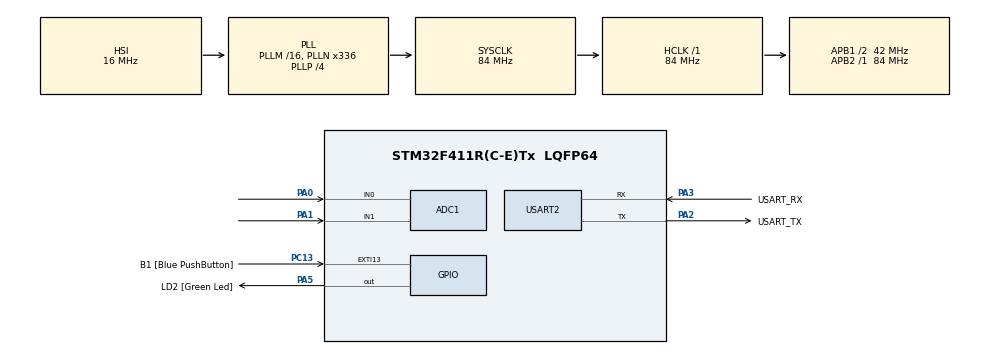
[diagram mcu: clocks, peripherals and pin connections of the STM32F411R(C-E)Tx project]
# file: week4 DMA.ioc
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ADC1.Channel-0\#ChannelRegularConversion=ADC_CHANNEL_0
ADC1.Channel-1\#ChannelRegularConversion=ADC_CHANNEL_1
ADC1.Channel-2\#ChannelRegularConversion=ADC_CHANNEL_TEMPSENSOR
ADC1.Channel-3\#ChannelRegularConversion=ADC_CHANNEL_VREFINT
ADC1.ContinuousConvMode=ENABLE
ADC1.DMAContinuousRequests=ENABLE
ADC1.NbrOfConversion=4
ADC1.NbrOfConversionFlag=1
ADC1.Rank-0\#ChannelRegularConversion=1
ADC1.Rank-1\#ChannelRegularConversion=2
ADC1.Rank-2\#ChannelRegularConversion=3
ADC1.Rank-3\#ChannelRegularConversion=4
ADC1.SamplingTime-0\#ChannelRegularConversion=ADC_SAMPLETIME_480CYCLES
ADC1.SamplingTime-1\#ChannelRegularConversion=ADC_SAMPLETIME_480CYCLES
ADC1.SamplingTime-2\#ChannelRegularConversion=ADC_SAMPLETIME_480CYCLES
ADC1.SamplingTime-3\#ChannelRegularConversion=ADC_SAMPLETIME_480CYCLES
ADC1.ScanConvMode=ENABLE
ADC1.master=1
Dma.ADC1.0.Direction=DMA_PERIPH_TO_MEMORY
Dma.ADC1.0.FIFOMode=DMA_FIFOMODE_DISABLE
Dma.ADC1.0.Instance=DMA2_Stream0
Dma.ADC1.0.MemDataAlignment=DMA_MDATAALIGN_WORD
Dma.ADC1.0.MemInc=DMA_MINC_ENABLE
Dma.ADC1.0.Mode=DMA_CIRCULAR
Dma.ADC1.0.PeriphDataAlignment=DMA_PDATAALIGN_WORD
Dma.ADC1.0.PeriphInc=DMA_PINC_DISABLE
Dma.ADC1.0.Priority=DMA_PRIORITY_LOW
Dma.Request0=ADC1
Mcu.Family=STM32F4
Mcu.Name=STM32F411R(C-E)Tx
Mcu.Package=LQFP64
NVIC.DMA2_Stream0_IRQn=true\:0\:0\:false\:false\:true\:false\:true
NVIC.EXTI15_10_IRQn=true\:0\:0\:false\:false\:true\:true\:true
NVIC.PriorityGroup=NVIC_PRIORITYGROUP_0
PA0-WKUP.Signal=ADCx_IN0
PA1.Signal=ADCx_IN1
PA13.GPIO_Label=TMS
PA13.Mode=Serial_Wire
PA13.Signal=SYS_JTMS-SWDIO
PA14.GPIO_Label=TCK
PA14.Mode=Serial_Wire
PA14.Signal=SYS_JTCK-SWCLK
PA2.GPIO_Label=USART_TX
PA2.Mode=Asynchronous
PA2.Signal=USART2_TX
PA3.GPIO_Label=USART_RX
PA3.Mode=Asynchronous
PA3.Signal=USART2_RX
PA5.GPIO_Label=LD2 [Green Led]
PA5.Signal=GPIO_Output
PB3.GPIO_Label=SWO
PB3.Signal=SYS_JTDO-SWO
PC13-ANTI_TAMP.GPIO_Label=B1 [Blue PushButton]
PC13-ANTI_TAMP.GPIO_ModeDefaultEXTI=GPIO_MODE_IT_RISING_FALLING
PC13-ANTI_TAMP.GPIO_PuPd=GPIO_PULLUP
PC13-ANTI_TAMP.Signal=GPXTI13
PC14-OSC32_IN.Mode=LSE-External-Oscillator
PC14-OSC32_IN.Signal=RCC_OSC32_IN
PC15-OSC32_OUT.Mode=LSE-External-Oscillator
PC15-OSC32_OUT.Signal=RCC_OSC32_OUT
PH0\ -\ OSC_IN.Mode=HSE-External-Clock-Source
PH0\ -\ OSC_IN.Signal=RCC_OSC_IN
PH1\ -\ OSC_OUT.Mode=HSE-External-Clock-Source
PH1\ -\ OSC_OUT.Signal=RCC_OSC_OUT
ProjectManager.HeapSize=0x200
ProjectManager.StackSize=0x400
ProjectManager.TargetToolchain=STM32CubeIDE
RCC.48MHZClocksFreq_Value=84000000
RCC.AHBFreq_Value=84000000
RCC.APB1CLKDivider=RCC_HCLK_DIV2
RCC.APB1Freq_Value=42000000
RCC.APB1TimFreq_Value=84000000
RCC.APB2Freq_Value=84000000
RCC.APB2TimFreq_Value=84000000
RCC.CortexFreq_Value=84000000
RCC.FLatency-AdvancedSettings=FLASH_LATENCY_2
RCC.HCLKFreq_Value=84000000
RCC.HSE_VALUE=8000000
RCC.HSI_VALUE=16000000
RCC.PLLN=336
RCC.PLLP=RCC_PLLP_DIV4
RCC.SYSCLKFreq_VALUE=84000000
RCC.SYSCLKSource=RCC_SYSCLKSOURCE_PLLCLK
RCC.VCOOutputFreq_Value=336000000
SH.ADCx_IN0.0=ADC1_IN0,IN0
SH.ADCx_IN1.0=ADC1_IN1,IN1
USART2.VirtualMode=VM_ASYNC
VP_ADC1_TempSens_Input.Mode=IN-TempSens
VP_ADC1_Vref_Input.Mode=IN-Vrefint
board=NUCLEO-F411RE

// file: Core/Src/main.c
/* USER CODE BEGIN Header */
/**
  ******************************************************************************
  * @file           : main.c
  * @brief          : Main program body
  ******************************************************************************
  * @attention
  *
  * <h2><center>&copy; Copyright (c) 2021 STMicroelectronics.
  * All rights reserved.</center></h2>
  *
  * This software component is licensed by ST under BSD 3-Clause license,
  * the "License"; You may not use this file except in compliance with the
  * License. You may obtain a copy of the License at:
  *                        opensource.org/licenses/BSD-3-Clause
  *
  ******************************************************************************
  */
/* USER CODE END Header */
#include "main.h"

ADC_HandleTypeDef hadc1;
DMA_HandleTypeDef hdma_adc1;

UART_HandleTypeDef huart2;

/* USER CODE BEGIN PV */
uint32_t ADCData[4]={0};
uint32_t stopwatch =0;
uint32_t ButtonTimeStamp = 0;
uint32_t zero ;
uint32_t one ;
uint32_t randomtime;
int interruptmode =0;
GPIO_PinState SwitchState[2];
/* USER CODE END PV */

void SystemClock_Config(void);
static void MX_GPIO_Init(void);
static void MX_DMA_Init(void);
static void MX_USART2_UART_Init(void);
static void MX_ADC1_Init(void);

int main(void)
{

  /* MCU Configuration--------------------------------------------------------*/

  /* Reset of all peripherals, Initializes the Flash interface and the Systick. */
  HAL_Init();

  /* Configure the system clock */
  SystemClock_Config();

  /* Initialize all configured peripherals */
  MX_GPIO_Init();
  MX_DMA_Init();
  MX_USART2_UART_Init();
  MX_ADC1_Init();
  /* USER CODE BEGIN 2 */
  HAL_ADC_Start_DMA(&hadc1, ADCData, 4);
  //uint32_t ButtonTimeStamp = 0;
  /* USER CODE END 2 */

  /* Infinite loop */
  /* USER CODE BEGIN WHILE */
  while (1)
  {
	  SwitchState[0] = HAL_GPIO_ReadPin(GPIOC, GPIO_PIN_13);
	  if (interruptmode == 1)
	  {
		  if(HAL_GetTick() - ButtonTimeStamp >= randomtime)
		  {

			  //HAL_GPIO_TogglePin(LD2_GPIO_Port, LD2_Pin);
			  //HAL_GPIO_WritePin(GPIOA, GPIO_PIN_5, GPIO_PIN_SET);
			  HAL_GPIO_WritePin(LD2_GPIO_Port, LD2_Pin, GPIO_PIN_SET);

			  ButtonTimeStamp = HAL_GetTick();
			  interruptmode = 2;
		  }
	  }
//	  if (interruptmode == 2)
//	  {
//
//		  stopwatch = HAL_GetTick()- ButtonTimeStamp;
//		  interruptmode = 0;
//	  }

    /* USER CODE END WHILE */

  }
}

void SystemClock_Config(void)
{
  RCC_OscInitTypeDef RCC_OscInitStruct = {0};
  RCC_ClkInitTypeDef RCC_ClkInitStruct = {0};

  /** Configure the main internal regulator output voltage
  */
  __HAL_RCC_PWR_CLK_ENABLE();
  __HAL_PWR_VOLTAGESCALING_CONFIG(PWR_REGULATOR_VOLTAGE_SCALE1);
  /** Initializes the RCC Oscillators according to the specified parameters
  * in the RCC_OscInitTypeDef structure.
  */
  RCC_OscInitStruct.OscillatorType = RCC_OSCILLATORTYPE_HSI;
  RCC_OscInitStruct.HSIState = RCC_HSI_ON;
  RCC_OscInitStruct.HSICalibrationValue = RCC_HSICALIBRATION_DEFAULT;
  RCC_OscInitStruct.PLL.PLLState = RCC_PLL_ON;
  RCC_OscInitStruct.PLL.PLLSource = RCC_PLLSOURCE_HSI;
  RCC_OscInitStruct.PLL.PLLM = 16;
  RCC_OscInitStruct.PLL.PLLN = 336;
  RCC_OscInitStruct.PLL.PLLP = RCC_PLLP_DIV4;
  RCC_OscInitStruct.PLL.PLLQ = 4;
  if (HAL_RCC_OscConfig(&RCC_OscInitStruct) != HAL_OK)
  {
    Error_Handler();
  }
  /** Initializes the CPU, AHB and APB buses clocks
  */
  RCC_ClkInitStruct.ClockType = RCC_CLOCKTYPE_HCLK|RCC_CLOCKTYPE_SYSCLK
                              |RCC_CLOCKTYPE_PCLK1|RCC_CLOCKTYPE_PCLK2;
  RCC_ClkInitStruct.SYSCLKSource = RCC_SYSCLKSOURCE_PLLCLK;
  RCC_ClkInitStruct.AHBCLKDivider = RCC_SYSCLK_DIV1;
  RCC_ClkInitStruct.APB1CLKDivider = RCC_HCLK_DIV2;
  RCC_ClkInitStruct.APB2CLKDivider = RCC_HCLK_DIV1;

  if (HAL_RCC_ClockConfig(&RCC_ClkInitStruct, FLASH_LATENCY_2) != HAL_OK)
  {
    Error_Handler();
  }
}

static void MX_ADC1_Init(void)
{

  ADC_ChannelConfTypeDef sConfig = {0};

  /** Configure the global features of the ADC (Clock, Resolution, Data Alignment and number of conversion)
  */
  hadc1.Instance = ADC1;
  hadc1.Init.ClockPrescaler = ADC_CLOCK_SYNC_PCLK_DIV4;
  hadc1.Init.Resolution = ADC_RESOLUTION_12B;
  hadc1.Init.ScanConvMode = ENABLE;
  hadc1.Init.ContinuousConvMode = ENABLE;
  hadc1.Init.DiscontinuousConvMode = DISABLE;
  hadc1.Init.ExternalTrigConvEdge = ADC_EXTERNALTRIGCONVEDGE_NONE;
  hadc1.Init.ExternalTrigConv = ADC_SOFTWARE_START;
  hadc1.Init.DataAlign = ADC_DATAALIGN_RIGHT;
  hadc1.Init.NbrOfConversion = 4;
  hadc1.Init.DMAContinuousRequests = ENABLE;
  hadc1.Init.EOCSelection = ADC_EOC_SINGLE_CONV;
  if (HAL_ADC_Init(&hadc1) != HAL_OK)
  {
    Error_Handler();
  }
  /** Configure for the selected ADC regular channel its corresponding rank in the sequencer and its sample time.
  */
  sConfig.Channel = ADC_CHANNEL_0;
  sConfig.Rank = 1;
  sConfig.SamplingTime = ADC_SAMPLETIME_480CYCLES;
  if (HAL_ADC_ConfigChannel(&hadc1, &sConfig) != HAL_OK)
  {
    Error_Handler();
  }
  /** Configure for the selected ADC regular channel its corresponding rank in the sequencer and its sample time.
  */
  sConfig.Channel = ADC_CHANNEL_1;
  sConfig.Rank = 2;
  if (HAL_ADC_ConfigChannel(&hadc1, &sConfig) != HAL_OK)
  {
    Error_Handler();
  }
  /** Configure for the selected ADC regular channel its corresponding rank in the sequencer and its sample time.
  */
  sConfig.Channel = ADC_CHANNEL_TEMPSENSOR;
  sConfig.Rank = 3;
  if (HAL_ADC_ConfigChannel(&hadc1, &sConfig) != HAL_OK)
  {
    Error_Handler();
  }
  /** Configure for the selected ADC regular channel its corresponding rank in the sequencer and its sample time.
  */
  sConfig.Channel = ADC_CHANNEL_VREFINT;
  sConfig.Rank = 4;
  if (HAL_ADC_ConfigChannel(&hadc1, &sConfig) != HAL_OK)
  {
    Error_Handler();
  }

}

static void MX_USART2_UART_Init(void)
{

  huart2.Instance = USART2;
  huart2.Init.BaudRate = 115200;
  huart2.Init.WordLength = UART_WORDLENGTH_8B;
  huart2.Init.StopBits = UART_STOPBITS_1;
  huart2.Init.Parity = UART_PARITY_NONE;
  huart2.Init.Mode = UART_MODE_TX_RX;
  huart2.Init.HwFlowCtl = UART_HWCONTROL_NONE;
  huart2.Init.OverSampling = UART_OVERSAMPLING_16;
  if (HAL_UART_Init(&huart2) != HAL_OK)
  {
    Error_Handler();
  }

}

static void MX_DMA_Init(void)
{

  /* DMA controller clock enable */
  __HAL_RCC_DMA2_CLK_ENABLE();

  /* DMA interrupt init */
  /* DMA2_Stream0_IRQn interrupt configuration */
  HAL_NVIC_SetPriority(DMA2_Stream0_IRQn, 0, 0);
  HAL_NVIC_EnableIRQ(DMA2_Stream0_IRQn);

}

static void MX_GPIO_Init(void)
{
  GPIO_InitTypeDef GPIO_InitStruct = {0};

  /* GPIO Ports Clock Enable */
  __HAL_RCC_GPIOC_CLK_ENABLE();
  __HAL_RCC_GPIOH_CLK_ENABLE();
  __HAL_RCC_GPIOA_CLK_ENABLE();
  __HAL_RCC_GPIOB_CLK_ENABLE();

  /*Configure GPIO pin Output Level */
  HAL_GPIO_WritePin(LD2_GPIO_Port, LD2_Pin, GPIO_PIN_SET);

  /*Configure GPIO pin : B1_Pin */
  GPIO_InitStruct.Pin = B1_Pin;
  GPIO_InitStruct.Mode = GPIO_MODE_IT_RISING_FALLING;
  GPIO_InitStruct.Pull = GPIO_PULLUP;
  HAL_GPIO_Init(B1_GPIO_Port, &GPIO_InitStruct);

  /*Configure GPIO pin : LD2_Pin */
  GPIO_InitStruct.Pin = LD2_Pin;
  GPIO_InitStruct.Mode = GPIO_MODE_OUTPUT_PP;
  GPIO_InitStruct.Pull = GPIO_NOPULL;
  GPIO_InitStruct.Speed = GPIO_SPEED_FREQ_LOW;
  HAL_GPIO_Init(LD2_GPIO_Port, &GPIO_InitStruct);

  /* EXTI interrupt init*/
  HAL_NVIC_SetPriority(EXTI15_10_IRQn, 0, 0);
  HAL_NVIC_EnableIRQ(EXTI15_10_IRQn);

}

/* USER CODE BEGIN 4 */
void HAL_GPIO_EXTI_Callback(uint16_t GPIO_Pin)
{
//	  SwitchState[0] = HAL_GPIO_ReadPin(GPIOC, GPIO_PIN_13);
	if(GPIO_Pin == GPIO_PIN_13)
	{
		zero =ADCData[0];
		one =ADCData[1];
		randomtime = (1000+((22695477*zero)+one)) % 10000;
		if(interruptmode ==0)
		{
			//HAL_GPIO_TogglePin(LD2_GPIO_Port, LD2_Pin);
			HAL_GPIO_WritePin(LD2_GPIO_Port, LD2_Pin, GPIO_PIN_RESET);
			interruptmode =1;
		}
		else if (HAL_GPIO_ReadPin(LD2_GPIO_Port, LD2_Pin) == GPIO_PIN_RESET)
		{
			interruptmode =0;
			HAL_GPIO_WritePin(LD2_GPIO_Port, LD2_Pin, GPIO_PIN_SET);
			ButtonTimeStamp = HAL_GetTick();
		}
		else if (interruptmode ==2)
		{

			stopwatch = HAL_GetTick()- ButtonTimeStamp;
			interruptmode =0;
		}
	}
}
/* USER CODE END 4 */

void Error_Handler(void)
{
  __disable_irq();
  while (1)
  {
  }
}

/************************ (C) COPYRIGHT STMicroelectronics *****END OF FILE****/
